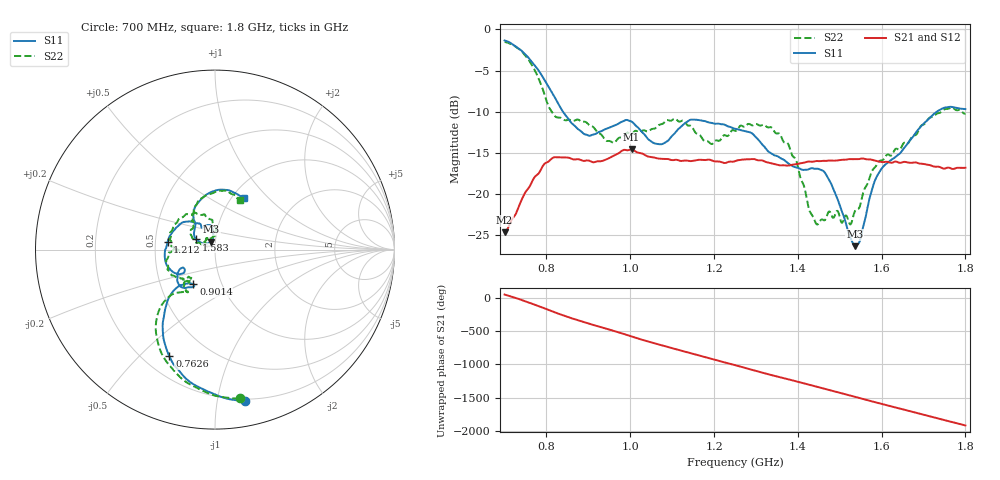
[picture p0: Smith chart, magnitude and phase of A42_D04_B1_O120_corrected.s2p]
! Created with skrf 1.9.0 (http://scikit-rf.org).
# Hz S RI R 50.0
!freq ReS11 ImS11 ReS21 ImS21 ReS12 ImS12 ReS22 ImS22
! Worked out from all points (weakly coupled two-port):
!   1601 points, 700 MHz to 1.8 GHz, reference 50 ohm
!   highest |S21| = -14.57 dB at 1.003 GHz (marker M1); lowest = -24.6 dB at 700 MHz (marker M2)
!   lowest |S11| = -26.3 dB at 1.536 GHz (marker M3), VSWR 1.10, Z = 47.7 + j4.16 ohm
!   |S11| at or under -10 dB: 839.5 MHz to 1.731 GHz (891.8 MHz wide, 69.4 % of centre)
!   |S22| runs from -23.7 to -1.5 dB; largest |S21 - S12| = 0.0034
!   S11 on the Smith chart (normalised r, x): 700 MHz: 0.19, -1.20; 762.6 MHz: 0.30, -0.62; 901.4 MHz: 0.73, -0.30; 1.212 GHz: 0.58, +0.06; 1.583 GHz: 0.80, +0.09; 1.8 GHz: 1.13, +0.73
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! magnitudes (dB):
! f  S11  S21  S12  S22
! 700 MHz  -1.3  -24.6  -24.4  -1.5
! 762.6 MHz  -3.8  -18.8  -18.7  -4.1
! 818.2 MHz  -8.1  -15.5  -15.6  -10.4
! 883.6 MHz  -12.4  -15.9  -15.8  -11.2
! 901.4 MHz  -12.9  -15.9  -15.9  -11.6
! 957.8 MHz  -11.8  -15.4  -15.4  -13.7
! 1.003 GHz  -11.2  -14.6  -14.7  -12.7
! 1.067 GHz  -13.9  -15.7  -15.6  -11.6
! 1.143 GHz  -11.0  -16.0  -16.0  -11.7
! 1.212 GHz  -11.4  -16.0  -16.0  -13.5
! 1.25 GHz  -12.1  -16.0  -15.9  -12.3
! 1.357 GHz  -15.6  -16.5  -16.4  -12.7
! 1.396 GHz  -16.7  -16.4  -16.3  -15.9
! 1.434 GHz  -16.8  -16.1  -16.0  -22.5
! 1.473 GHz  -18.1  -15.9  -15.9  -22.2
! 1.525 GHz  -25.2  -15.7  -15.7  -23.7
! 1.536 GHz  -26.3  -15.7  -15.7  -22.1
! 1.549 GHz  -25.5  -15.7  -15.7  -21.3
! 1.583 GHz  -18.4  -15.9  -15.9  -16.8
! 1.617 GHz  -16.1  -16.1  -16.1  -15.2
! 1.733 GHz  -10.0  -16.7  -16.7  -10.2
! 1.8 GHz  -9.7  -16.8  -16.8  -10.2
